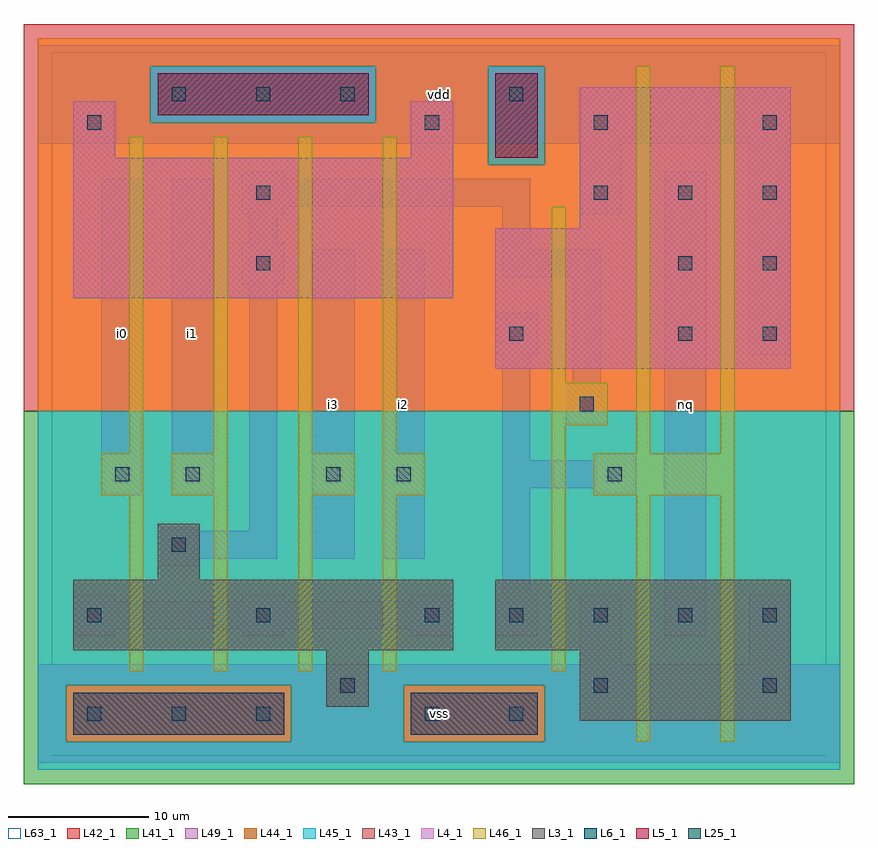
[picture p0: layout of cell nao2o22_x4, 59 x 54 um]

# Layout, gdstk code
import gdstk
lib = gdstk.Library(unit=1e-6, precision=1e-09)
def R(c, l, rs):  # rectangles x0, y0, x1, y1
    for r in rs: c.add(gdstk.rectangle(r[:2], r[2:], *l))
def A(c, l, x, y, w, h, nx, ny, dx, dy):  # array of equal rectangles
    R(c, l, [(x+i*dx, y+j*dy, x+i*dx+w, y+j*dy+h) for i in range(nx) for j in range(ny)])
L3_1 = (3, 1)
L4_1 = (4, 1)
L5_1 = (5, 1)
L6_1 = (6, 1)
L25_1 = (25, 1)
L41_1 = (41, 1)
L42_1 = (42, 1)
L43_1 = (43, 1)
L44_1 = (44, 1)
L45_1 = (45, 1)
L46_1 = (46, 1)
L49_1 = (49, 1)
L63_1 = (63, 1)

nao2o22_x4 = lib.new_cell('nao2o22_x4')
R(nao2o22_x4, L3_1, [(37.5,2.5,52.5,7.5), (19.5,3.5,22.5,7.5), (1.5,7.5,28.5,12.5), (31.5,7.5,52.5,12.5), (7.5,12.5,10.5,16.5)])
R(nao2o22_x4, L4_1, [(31.5,27.5,52.5,37.5), (1.5,32.5,28.5,42.5), (37.5,37.5,52.5,47.5), (1.5,42.5,4.5,46.5), (25.5,42.5,28.5,46.5)])
R(nao2o22_x4, L5_1, [(31.5,42.5,34.5,48.5), (7.5,45.5,22.5,48.5)])
R(nao2o22_x4, L6_1, [(1.5,1.5,16.5,4.5), (25.5,1.5,34.5,4.5)])
A(nao2o22_x4, L25_1, 2.5, 2.5, 1, 1, 3, 1, 6, 0)
A(nao2o22_x4, L25_1, 2.5, 9.5, 1, 1, 3, 1, 12, 0)
A(nao2o22_x4, L25_1, 32.5, 9.5, 1, 1, 4, 1, 6, 0)
A(nao2o22_x4, L25_1, 38.5, 39.5, 1, 1, 3, 1, 6, 0)
A(nao2o22_x4, L25_1, 26.5, 44.5, 1, 1, 3, 1, 12, 0)
A(nao2o22_x4, L25_1, 8.5, 46.5, 1, 1, 3, 1, 6, 0)
R(nao2o22_x4, L25_1, [(26.5,2.5,27.5,3.5), (32.5,2.5,33.5,3.5), (20.5,4.5,21.5,5.5), (38.5,4.5,39.5,5.5), (50.5,4.5,51.5,5.5), (8.5,14.5,9.5,15.5), (4.5,19.5,5.5,20.5), (9.5,19.5,10.5,20.5), (19.5,19.5,20.5,20.5), (24.5,19.5,25.5,20.5), (39.5,19.5,40.5,20.5), (37.5,24.5,38.5,25.5), (32.5,29.5,33.5,30.5), (44.5,29.5,45.5,30.5), (50.5,29.5,51.5,30.5), (14.5,34.5,15.5,35.5), (44.5,34.5,45.5,35.5), (50.5,34.5,51.5,35.5), (14.5,39.5,15.5,40.5), (2.5,44.5,3.5,45.5), (32.5,46.5,33.5,47.5)])
R(nao2o22_x4, L41_1, [(-2,-2,57,24.5)])
R(nao2o22_x4, L42_1, [(-2,24.5,57,52)])
R(nao2o22_x4, L43_1, [(1.5,1.5,16.5,4.5), (25.5,1.5,34.5,4.5), (37.5,2.5,52.5,7.5), (19.5,3.5,22.5,7.5), (1.5,7.5,28.5,12.5), (31.5,7.5,52.5,12.5), (7.5,12.5,10.5,16.5), (31.5,27.5,52.5,37.5), (1.5,32.5,28.5,42.5), (37.5,37.5,52.5,47.5), (1.5,42.5,4.5,46.5), (25.5,42.5,28.5,46.5), (31.5,42.5,34.5,48.5), (7.5,45.5,22.5,48.5)])
R(nao2o22_x4, L44_1, [(1,1,17,5), (25,1,35,5), (-1,24.5,56,42), (-1,42,31,45), (35,42,56,49), (-1,45,7,49), (23,45,31,49), (-1,49,56,51)])
R(nao2o22_x4, L45_1, [(-1,-1,56,1), (-1,1,1,5), (17,1,25,5), (35,1,56,5), (-1,5,56,24.5), (31,42,35,49), (7,45,23,49)])
A(nao2o22_x4, L46_1, 5.5, 6, 1, 12.5, 4, 1, 6, 0)
A(nao2o22_x4, L46_1, 5.5, 21.5, 1, 22.5, 4, 1, 6, 0)
R(nao2o22_x4, L46_1, [(41.5,1,42.5,18.5), (47.5,1,48.5,18.5), (35.5,6,36.5,23.5), (3.5,18.5,6.5,21.5), (8.5,18.5,12.5,21.5), (17.5,18.5,21.5,21.5), (23.5,18.5,26.5,21.5), (38.5,18.5,48.5,21.5), (41.5,21.5,42.5,49), (47.5,21.5,48.5,49), (35.5,23.5,39.5,26.5), (35.5,26.5,36.5,39)])
A(nao2o22_x4, L49_1, 1.5, 8.5, 3, 0.5, 3, 2, 12, 2.5)
R(nao2o22_x4, L49_1, [(-1,-0.5,56,6.5), (37.5,6.5,40.5,11.5), (49.5,6.5,52.5,11.5), (31.5,8.5,34.5,11.5), (43.5,8.5,46.5,41.5), (1.5,9,28.5,11), (32,11.5,34,19), (7.5,13.5,10.5,14), (7.5,14,16,16), (18.5,14,21.5,36), (23.5,14,26.5,36), (7.5,16,10.5,16.5), (14,16,16,33.5), (3.5,18.5,6.5,41), (8.5,18.5,11.5,41), (38.5,18.5,41.5,19), (32,19,41.5,21), (32,21,34,28.5), (38.5,21,41.5,21.5), (36.5,23.5,39.5,26.5), (37,26.5,39,34), (31.5,28.5,34.5,31.5), (49.5,28.5,52.5,43.5), (13.5,33.5,16.5,36.5), (32,34,39,36), (32,36,34,39), (14,36.5,16,38.5), (13.5,38.5,16.5,39), (37.5,38.5,40.5,43.5), (13.5,39,34,41), (13.5,41,16.5,41.5), (-1,43.5,56,50.5)])
R(nao2o22_x4, L63_1, [(0,0,55,50)])
nao2o22_x4.add(gdstk.Label('i1', (10,30), layer=49, texttype=1))
nao2o22_x4.add(gdstk.Label('i0', (5,30), layer=49, texttype=1))
nao2o22_x4.add(gdstk.Label('i1', (10,30), layer=49, texttype=1))
nao2o22_x4.add(gdstk.Label('i0', (5,30), layer=49, texttype=1))
nao2o22_x4.add(gdstk.Label('i3', (20,25), layer=49, texttype=1))
nao2o22_x4.add(gdstk.Label('i2', (25,25), layer=49, texttype=1))
nao2o22_x4.add(gdstk.Label('i2', (25,25), layer=49, texttype=1))
nao2o22_x4.add(gdstk.Label('i3', (20,25), layer=49, texttype=1))
nao2o22_x4.add(gdstk.Label('vss', (27.5,3), layer=49, texttype=1))
nao2o22_x4.add(gdstk.Label('vss', (27.5,3), layer=49, texttype=1))
nao2o22_x4.add(gdstk.Label('vdd', (27.5,47), layer=49, texttype=1))
nao2o22_x4.add(gdstk.Label('vdd', (27.5,47), layer=49, texttype=1))
nao2o22_x4.add(gdstk.Label('nq', (45,25), layer=49, texttype=1))
nao2o22_x4.add(gdstk.Label('nq', (45,25), layer=49, texttype=1))

lib.write_gds('nao2o22_x4.gds')
